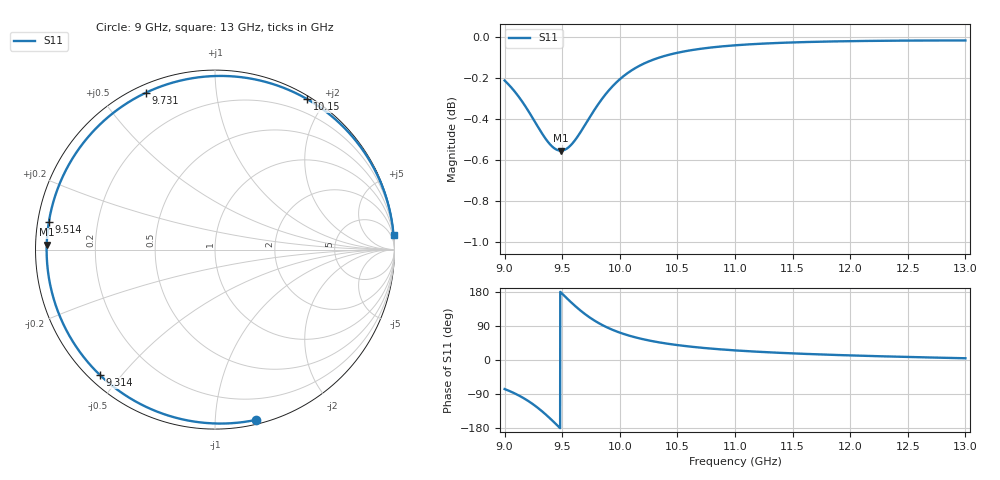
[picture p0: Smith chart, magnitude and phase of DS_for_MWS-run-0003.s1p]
! TOUCHSTONE file generated by CST DESIGN STUDIO
! Date and time: Tue Feb  4 18:05:59 2025
! Project name: C:\Work\MatlabApps\UnitCellOptimizationMatlab\CST\unitcell.cst
! Tree item: Tasks\Sweep1\SPara1\S-Parameters
! Header version: 2024
! Port assignment regex: !\s*Touchstone port\s*([0-9]+)\s*=\s*(CST MWS port|CST DES external port|CST DES block port)\s*(.+)\s* \(\"(.*)\"\)(\s*mode\s*([0-9]+))?.*
! Touchstone port assignment:
! Touchstone port 1 = CST DES external port 1 ("")
# GHz S MA R 50
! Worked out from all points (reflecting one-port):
!   4001 points, 9 GHz to 13 GHz, reference 50 ohm
!   lowest |S11| = -0.6 dB at 9.488 GHz (marker M1), VSWR 31.35, Z = 1.59 + j0.709 ohm
!   phase of S11 starts at -77 deg and turns -279 deg over the sweep
!   S11 on the Smith chart (normalised r, x): 9 GHz: 0.03, -1.27; 9.314 GHz: 0.03, -0.44; 9.514 GHz: 0.03, +0.08; 9.731 GHz: 0.03, +0.65; 10.15 GHz: 0.04, +1.78; 13 GHz: 1, +25
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9  0.9757 -76.6
9.08  0.9703 -87.0
9.179  0.9619 -103.2
9.249  0.9549 -117.3
9.314  0.9483 -132.5
9.36  0.9441 -144.5
9.409  0.9406 -158.3
9.449  0.9388 -170.0
9.488  0.9382 178.4
9.5  0.9382 174.8
9.514  0.9385 170.6
9.567  0.9406 155.1
9.627  0.945 138.6
9.678  0.9498 125.8
9.731  0.9551 113.9
9.785  0.9603 103.1
9.845  0.9657 92.8
9.921  0.9715 81.7
10  0.9764 72.3
10.15  0.9831 58.6
10.309  0.9876 48.3
10.5  0.991 39.4
10.722  0.9934 32.0
11  0.9952 25.4
11.5  0.9968 17.4
12  0.9975 12.1
12.5  0.9978 8.0
13  0.9979 4.6
